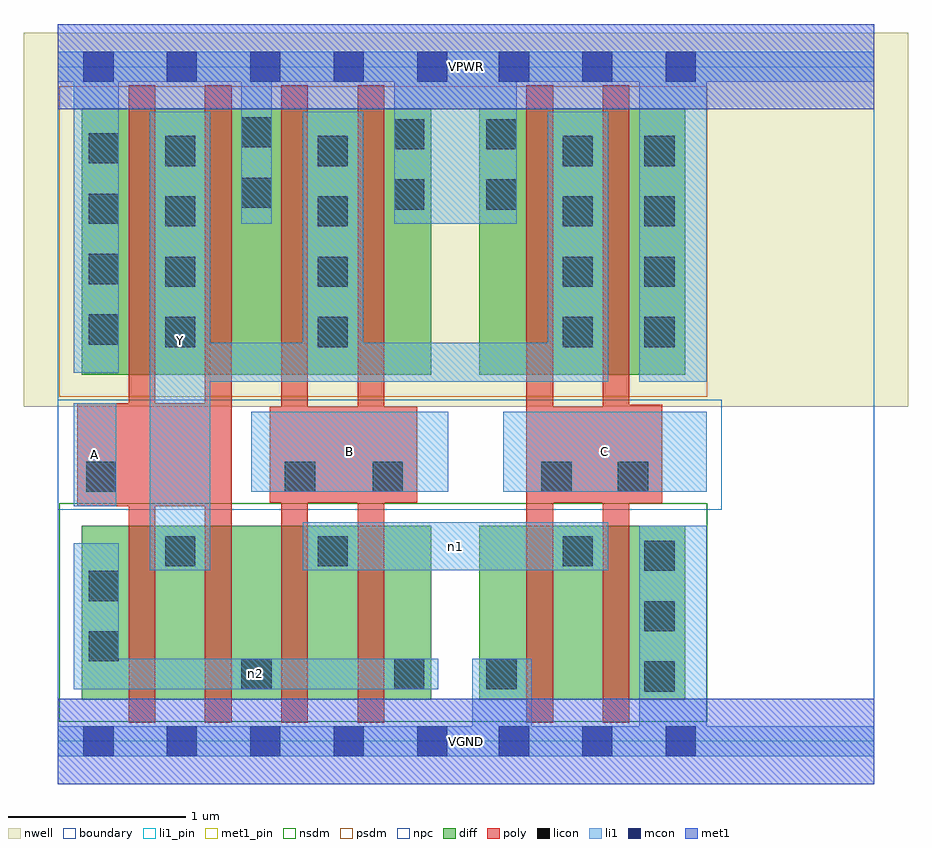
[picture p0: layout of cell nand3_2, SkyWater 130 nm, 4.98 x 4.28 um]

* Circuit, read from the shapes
.subckt nand3_2 A B C VGND VPWR Y n1 n2
XM1 Y A n2 VSUBS sky130_fd_pr__nfet_01v8 w=0.98 l=0.15 m=2
XM2 n1 B n2 VSUBS sky130_fd_pr__nfet_01v8 w=0.98 l=0.15 m=2
XM3 n1 C VGND VSUBS sky130_fd_pr__nfet_01v8 w=0.98 l=0.15 m=2
XM4 Y A VPWR n3 sky130_fd_pr__pfet_01v8 w=1.5 l=0.15 m=2
XM5 Y B VPWR n3 sky130_fd_pr__pfet_01v8 w=1.5 l=0.15 m=2
XM6 Y C VPWR n3 sky130_fd_pr__pfet_01v8 w=1.5 l=0.15 m=2
.ends

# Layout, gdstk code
import gdstk
lib = gdstk.Library(unit=1e-6, precision=1e-09)
def R(c, l, rs):  # rectangles x0, y0, x1, y1
    for r in rs: c.add(gdstk.rectangle(r[:2], r[2:], *l))
def A(c, l, x, y, w, h, nx, ny, dx, dy):  # array of equal rectangles
    R(c, l, [(x+i*dx, y+j*dy, x+i*dx+w, y+j*dy+h) for i in range(nx) for j in range(ny)])
nwell = (64, 20)
diff = (65, 20)
poly = (66, 20)
licon = (66, 44)
li1_pin = (67, 16)
li1 = (67, 20)
mcon = (67, 44)
met1_pin = (68, 16)
met1 = (68, 20)
nsdm = (93, 44)
psdm = (94, 20)
npc = (95, 20)
boundary = (235, 4)

nand3_2 = lib.new_cell('nand3_2')
R(nand3_2, nwell, [(-0.19,1.885,4.79,3.99), (0,1.885,4.6,3.99)])
R(nand3_2, diff, [(0.135,0.235,2.105,1.215), (2.375,0.235,3.535,1.215), (0.135,2.065,2.105,3.565), (2.375,2.065,3.535,3.565)])
A(nand3_2, poly, 0.4, 0.105, 0.15, 3.59, 4, 1, 0.43, 0)
R(nand3_2, poly, [(2.64,0.105,2.79,3.695), (3.07,0.105,3.22,3.695), (0.11,1.325,0.98,1.905), (3.07,1.34,3.405,1.895), (1.195,1.345,2.025,1.885), (2.64,1.345,3.405,1.885)])
A(nand3_2, licon, 3.305, 0.28, 0.17, 0.17, 1, 3, 0, 0.34)
A(nand3_2, licon, 0.605, 2.22, 0.17, 0.17, 1, 4, 0, 0.34)
A(nand3_2, licon, 1.465, 2.22, 0.17, 0.17, 1, 4, 0, 0.34)
A(nand3_2, licon, 2.845, 2.22, 0.17, 0.17, 1, 4, 0, 0.34)
A(nand3_2, licon, 3.305, 2.22, 0.17, 0.17, 1, 4, 0, 0.34)
A(nand3_2, licon, 0.175, 2.235, 0.17, 0.17, 1, 4, 0, 0.34)
R(nand3_2, licon, [(1.035,0.295,1.205,0.465), (1.895,0.295,2.065,0.465), (2.415,0.295,2.585,0.465), (0.175,0.45,0.345,0.62), (0.175,0.79,0.345,0.96), (0.605,0.985,0.775,1.155), (1.465,0.985,1.635,1.155), (2.845,0.985,3.015,1.155), (0.16,1.405,0.33,1.575), (1.28,1.405,1.45,1.575), (1.775,1.405,1.945,1.575), (2.725,1.405,2.895,1.575), (3.155,1.405,3.325,1.575), (1.895,2.995,2.065,3.165), (2.415,2.995,2.585,3.165), (1.035,3.005,1.205,3.175), (1.895,3.335,2.065,3.505), (2.415,3.335,2.585,3.505), (1.035,3.345,1.205,3.515)])
R(nand3_2, li1_pin, [(0.52,0.965,0.86,3.545), (0.09,1.325,0.33,1.905), (1.09,1.405,2.2,1.855), (2.51,1.405,3.655,1.855)])
R(nand3_2, li1, [(0,-0.085,4.6,0.085), (2.335,-0.085,2.67,0.465), (3.275,-0.085,3.655,1.215), (0.09,0.295,2.145,0.465), (0.09,0.295,0.345,1.115), (0.52,0.965,0.86,3.545), (1.38,0.965,3.1,1.235), (0.09,1.325,0.33,1.905), (1.09,1.405,2.2,1.855), (2.51,1.405,3.655,1.855), (0.52,2.025,3.1,2.245), (1.38,2.025,1.72,3.545), (2.76,2.025,3.1,3.545), (3.275,2.025,3.655,3.885), (0.09,2.075,0.345,3.885), (1.035,2.915,1.205,3.885), (1.895,2.915,2.585,3.885), (0,3.715,4.6,3.885)])
A(nand3_2, mcon, 0.145, -0.085, 0.17, 0.17, 5, 2, 0.47, 3.8)
A(nand3_2, mcon, 2.485, -0.085, 0.17, 0.17, 3, 2, 0.47, 3.8)
R(nand3_2, met1_pin, [(0,-0.24,4.6,0.24), (0,3.56,4.6,4.04)])
R(nand3_2, met1, [(0,-0.24,4.6,0.24), (0,3.56,4.6,4.04)])
R(nand3_2, nsdm, [(0.01,0.11,3.66,1.34)])
R(nand3_2, psdm, [(0.01,1.94,3.66,3.69)])
R(nand3_2, npc, [(0,1.305,3.74,1.925)])
R(nand3_2, boundary, [(0,0,4.6,3.8)])
nand3_2.add(gdstk.Label('A', (0.21,1.615), layer=67, texttype=5))
nand3_2.add(gdstk.Label('B', (1.645,1.63), layer=67, texttype=5))
nand3_2.add(gdstk.Label('C', (3.082,1.63), layer=67, texttype=5))
nand3_2.add(gdstk.Label('Y', (0.69,2.255), layer=67, texttype=5))
nand3_2.add(gdstk.Label('n2', (1.117,0.38), layer=67, texttype=5))
nand3_2.add(gdstk.Label('n1', (2.24,1.1), layer=67, texttype=5))
nand3_2.add(gdstk.Label('VPWR', (2.3,3.8), layer=68, texttype=5))
nand3_2.add(gdstk.Label('VGND', (2.3,0), layer=68, texttype=5))
nand3_2.add(gdstk.Label('A', (0.21,1.615), layer=67, texttype=16))
nand3_2.add(gdstk.Label('B', (1.645,1.63), layer=67, texttype=16))
nand3_2.add(gdstk.Label('C', (3.082,1.63), layer=67, texttype=16))
nand3_2.add(gdstk.Label('Y', (0.69,2.255), layer=67, texttype=16))
nand3_2.add(gdstk.Label('VPWR', (2.3,3.8), layer=68, texttype=16))
nand3_2.add(gdstk.Label('VGND', (2.3,0), layer=68, texttype=16))

lib.write_gds('nand3_2.gds')
